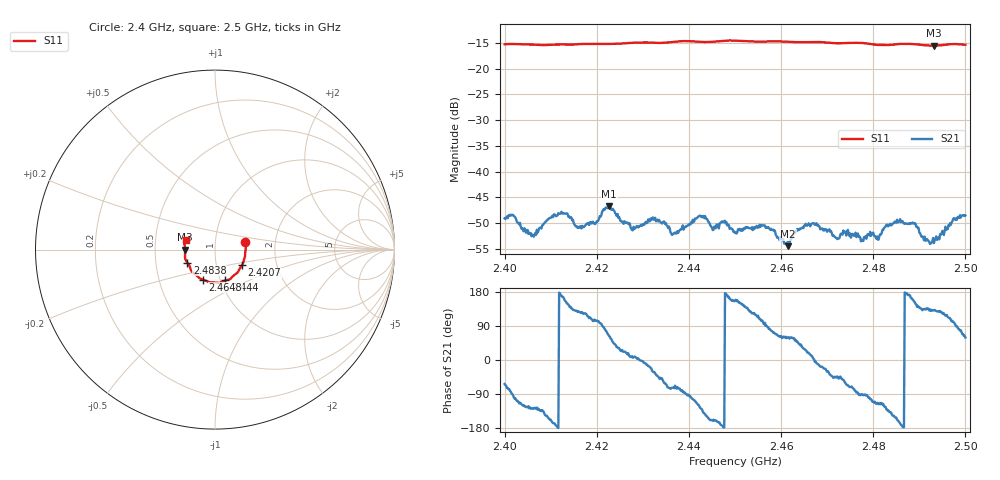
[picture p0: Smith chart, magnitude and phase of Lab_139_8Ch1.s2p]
# Hz S RI R 50
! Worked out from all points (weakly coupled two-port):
!   601 points, 2.4 GHz to 2.5 GHz, reference 50 ohm
!   highest |S21| = -46.75 dB at 2.4227 GHz (marker M1); lowest = -54.5 dB at 2.4615 GHz (marker M2)
!   lowest |S11| = -15.6 dB at 2.4932 GHz (marker M3), VSWR 1.40, Z = 35.7 - j0.0722 ohm
!   |S11| at or under -10 dB: start of sweep to end of sweep
!   S12 and S22 are empty: the file has one direction only
!   S11 on the Smith chart (normalised r, x): 2.4 GHz: 1.39, +0.12; 2.4207 GHz: 1.33, -0.24; 2.444 GHz: 1.06, -0.37; 2.4648 GHz: 0.83, -0.29; 2.4838 GHz: 0.73, -0.11; 2.5 GHz: 0.72, +0.08
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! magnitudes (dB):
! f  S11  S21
! 2.4 GHz  -15.3  -49.1
! 2.4018 GHz  -15.2  -48.4
! 2.406 GHz  -15.3  -52.2
! 2.4122 GHz  -15.3  -48.2
! 2.4167 GHz  -15.2  -51.0
! 2.4207 GHz  -15.2  -48.6
! 2.4227 GHz  -15.2  -46.8
! 2.4278 GHz  -15.0  -51.4
! 2.4333 GHz  -15.0  -49.7
! 2.4367 GHz  -14.8  -52.0
! 2.444 GHz  -14.8  -49.3
! 2.45 GHz  -14.6  -51.9
! 2.4562 GHz  -14.8  -50.4
! 2.4615 GHz  -14.8  -54.5
! 2.4648 GHz  -14.9  -51.0
! 2.4667 GHz  -14.8  -50.1
! 2.4777 GHz  -15.0  -53.3
! 2.4833 GHz  -15.4  -50.5
! 2.4838 GHz  -15.4  -50.4
! 2.4887 GHz  -15.2  -50.0
! 2.4932 GHz  -15.6  -53.9
! 2.5 GHz  -15.4  -48.5
